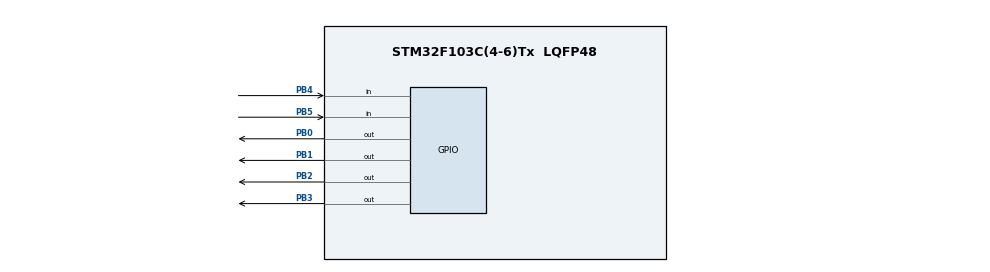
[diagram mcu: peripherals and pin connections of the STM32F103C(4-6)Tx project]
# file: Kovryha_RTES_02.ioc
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Mcu.Family=STM32F1
Mcu.Name=STM32F103C(4-6)Tx
Mcu.Package=LQFP48
NVIC.PriorityGroup=NVIC_PRIORITYGROUP_4
PB0.Signal=GPIO_Output
PB1.Signal=GPIO_Output
PB2.Signal=GPIO_Output
PB3.Signal=GPIO_Output
PB4.Signal=GPIO_Input
PB5.Signal=GPIO_Input
ProjectManager.HeapSize=0x200
ProjectManager.StackSize=0x400
ProjectManager.TargetToolchain=STM32CubeIDE
RCC.APB1Freq_Value=8000000
RCC.APB2Freq_Value=8000000
VP_SYS_VS_ND.Mode=No_Debug
board=custom

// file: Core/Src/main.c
/* USER CODE BEGIN Header */
/**
  ******************************************************************************
  * @file           : main.c
  * @brief          : Main program body
  ******************************************************************************
  * @attention
  *
  * <h2><center>&copy; Copyright (c) 2021 STMicroelectronics.
  * All rights reserved.</center></h2>
  *
  * This software component is licensed by ST under BSD 3-Clause license,
  * the "License"; You may not use this file except in compliance with the
  * License. You may obtain a copy of the License at:
  *                        opensource.org/licenses/BSD-3-Clause
  *
  ******************************************************************************
  */
/* USER CODE END Header */
#include "main.h"
#include "gpio.h"

void SystemClock_Config(void);

int main(void)
{

  /* MCU Configuration--------------------------------------------------------*/

  /* Reset of all peripherals, Initializes the Flash interface and the Systick. */
  HAL_Init();

  /* Configure the system clock */
  SystemClock_Config();

  /* Initialize all configured peripherals */
  MX_GPIO_Init();

  /* Infinite loop */
  /* USER CODE BEGIN WHILE */
  HAL_GPIO_TogglePin (GPIOB, GPIO_PIN_0);
  HAL_GPIO_TogglePin (GPIOB, GPIO_PIN_1);
  HAL_GPIO_TogglePin (GPIOB, GPIO_PIN_2);
  HAL_GPIO_TogglePin (GPIOB, GPIO_PIN_3);

  while (1)
  {
	  if (HAL_GPIO_ReadPin (GPIOB, GPIO_PIN_4) == GPIO_PIN_SET)
	  {
		  if (HAL_GPIO_ReadPin (GPIOB, GPIO_PIN_0) == GPIO_PIN_SET)
		  {
			  HAL_GPIO_TogglePin (GPIOB, GPIO_PIN_0);
		  } else if (HAL_GPIO_ReadPin (GPIOB, GPIO_PIN_1) == GPIO_PIN_SET)
		  {
			  HAL_GPIO_TogglePin (GPIOB, GPIO_PIN_1);
		  } else if (HAL_GPIO_ReadPin (GPIOB, GPIO_PIN_2) == GPIO_PIN_SET)
		  {
			  HAL_GPIO_TogglePin (GPIOB, GPIO_PIN_2);
		  } else if (HAL_GPIO_ReadPin (GPIOB, GPIO_PIN_3) == GPIO_PIN_SET)
		  {
			  HAL_GPIO_TogglePin (GPIOB, GPIO_PIN_3);
		  } else
		  {
			  HAL_GPIO_WritePin (GPIOB, GPIO_PIN_0, GPIO_PIN_SET);
			  HAL_GPIO_WritePin (GPIOB, GPIO_PIN_1, GPIO_PIN_SET);
			  HAL_GPIO_WritePin (GPIOB, GPIO_PIN_2, GPIO_PIN_SET);
			  HAL_GPIO_WritePin (GPIOB, GPIO_PIN_3, GPIO_PIN_SET);
		  }
		  HAL_Delay (500);
	  } else if ((HAL_GPIO_ReadPin (GPIOB, GPIO_PIN_5) == GPIO_PIN_SET))
	  {
		  if (HAL_GPIO_ReadPin (GPIOB, GPIO_PIN_0) == GPIO_PIN_RESET)
		  {
			  HAL_GPIO_TogglePin (GPIOB, GPIO_PIN_0);
			  HAL_GPIO_TogglePin (GPIOB, GPIO_PIN_1);
		  } else if (HAL_GPIO_ReadPin (GPIOB, GPIO_PIN_1) == GPIO_PIN_RESET)
		  {
			  HAL_GPIO_TogglePin (GPIOB, GPIO_PIN_1);
			  HAL_GPIO_TogglePin (GPIOB, GPIO_PIN_2);
		  } else if (HAL_GPIO_ReadPin (GPIOB, GPIO_PIN_2) == GPIO_PIN_RESET)
		  {
			  HAL_GPIO_TogglePin (GPIOB, GPIO_PIN_2);
			  HAL_GPIO_TogglePin (GPIOB, GPIO_PIN_3);
		  } else if (HAL_GPIO_ReadPin (GPIOB, GPIO_PIN_3) == GPIO_PIN_RESET)
		  {
			  HAL_GPIO_TogglePin (GPIOB, GPIO_PIN_3);
			  HAL_GPIO_TogglePin (GPIOB, GPIO_PIN_0);
		  } else
		  {
			  HAL_GPIO_TogglePin (GPIOB, GPIO_PIN_0);
		  }
		  HAL_Delay (500);
	  }
    /* USER CODE END WHILE */

  }
}

void SystemClock_Config(void)
{
  RCC_OscInitTypeDef RCC_OscInitStruct = {0};
  RCC_ClkInitTypeDef RCC_ClkInitStruct = {0};

  /** Initializes the RCC Oscillators according to the specified parameters
  * in the RCC_OscInitTypeDef structure.
  */
  RCC_OscInitStruct.OscillatorType = RCC_OSCILLATORTYPE_HSI;
  RCC_OscInitStruct.HSIState = RCC_HSI_ON;
  RCC_OscInitStruct.HSICalibrationValue = RCC_HSICALIBRATION_DEFAULT;
  RCC_OscInitStruct.PLL.PLLState = RCC_PLL_NONE;
  if (HAL_RCC_OscConfig(&RCC_OscInitStruct) != HAL_OK)
  {
    Error_Handler();
  }
  /** Initializes the CPU, AHB and APB buses clocks
  */
  RCC_ClkInitStruct.ClockType = RCC_CLOCKTYPE_HCLK|RCC_CLOCKTYPE_SYSCLK
                              |RCC_CLOCKTYPE_PCLK1|RCC_CLOCKTYPE_PCLK2;
  RCC_ClkInitStruct.SYSCLKSource = RCC_SYSCLKSOURCE_HSI;
  RCC_ClkInitStruct.AHBCLKDivider = RCC_SYSCLK_DIV1;
  RCC_ClkInitStruct.APB1CLKDivider = RCC_HCLK_DIV1;
  RCC_ClkInitStruct.APB2CLKDivider = RCC_HCLK_DIV1;

  if (HAL_RCC_ClockConfig(&RCC_ClkInitStruct, FLASH_LATENCY_0) != HAL_OK)
  {
    Error_Handler();
  }
}

void Error_Handler(void)
{
  __disable_irq();
  while (1)
  {
  }
}
